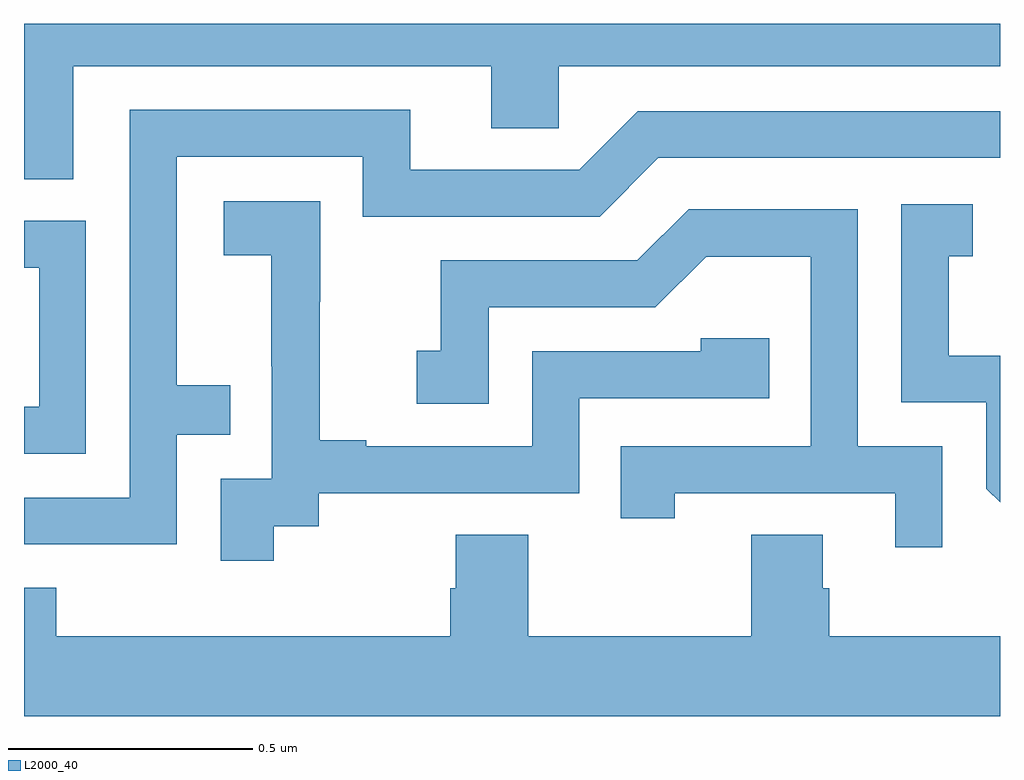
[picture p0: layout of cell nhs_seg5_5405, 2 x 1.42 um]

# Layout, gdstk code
import gdstk
lib = gdstk.Library(unit=1e-6, precision=1e-09)
def P(c, l, *ps):  # polygons
    for p in ps: c.add(gdstk.Polygon(p, *l))
L2000_40 = (2000, 40)

nhs_seg5_5405 = lib.new_cell('nhs_seg5_5405')
P(nhs_seg5_5405, L2000_40, [(182.101,904.712),(182.957,904.712),(182.957,904.585),(183.096,904.585),(183.096,904.712),(184,904.712),(184,904.799),(182,904.799),(182,904.48),(182.101,904.48)],
  [(182.313,903.957),(182.423,903.957),(182.423,904.058),(182.313,904.058),(182.313,904.527),(182.694,904.527),(182.694,904.404),(183.18,904.404),(183.3,904.524),(184,904.524),(184,904.62),(183.258,904.62),(183.138,904.5),(182.791,904.5),(182.791,904.623),(182.217,904.623),(182.217,903.828),(182,903.828),(182,903.732),(182.313,903.732)],
  [(182.512,903.769),(182.604,903.769),(182.604,903.837),(183.138,903.837),(183.138,904.032),(183.527,904.032),(183.527,904.155),(183.387,904.155),(183.387,904.128),(183.042,904.128),(183.042,903.933),(182.701,903.933),(182.701,903.946),(182.606,903.946),(182.606,904.229),(182.607,904.229),(182.607,904.435),(182.409,904.435),(182.409,904.325),(182.507,904.325),(182.507,904.097),(182.508,904.097),(182.508,903.867),(182.403,903.867),(182.403,903.699),(182.512,903.699)],
  [(184,904.119),(183.895,904.119),(183.895,904.323),(183.944,904.323),(183.944,904.429),(183.798,904.429),(183.798,904.023),(183.972,904.023),(183.972,903.846),(184,903.818)],
  [(183.882,903.933),(183.708,903.933),(183.708,904.419),(183.362,904.419),(183.257,904.314),(182.854,904.314),(182.854,904.129),(182.805,904.129),(182.805,904.02),(182.952,904.02),(182.952,904.218),(183.294,904.218),(183.398,904.322),(183.612,904.322),(183.612,903.933),(183.223,903.933),(183.223,903.786),(183.334,903.786),(183.334,903.837),(183.785,903.837),(183.785,903.726),(183.882,903.726)],
  [(182.127,904.395),(182,904.395),(182,904.299),(182.031,904.299),(182.031,904.014),(182,904.014),(182,903.918),(182.127,903.918)],
  [(184,903.544),(183.65,903.544),(183.65,903.642),(183.637,903.642),(183.637,903.752),(183.49,903.752),(183.49,903.544),(183.033,903.544),(183.033,903.752),(182.885,903.752),(182.885,903.642),(182.873,903.642),(182.873,903.544),(182.066,903.544),(182.066,903.643),(182,903.643),(182,903.38),(184,903.38)])

lib.write_gds('nhs_seg5_5405.gds')
